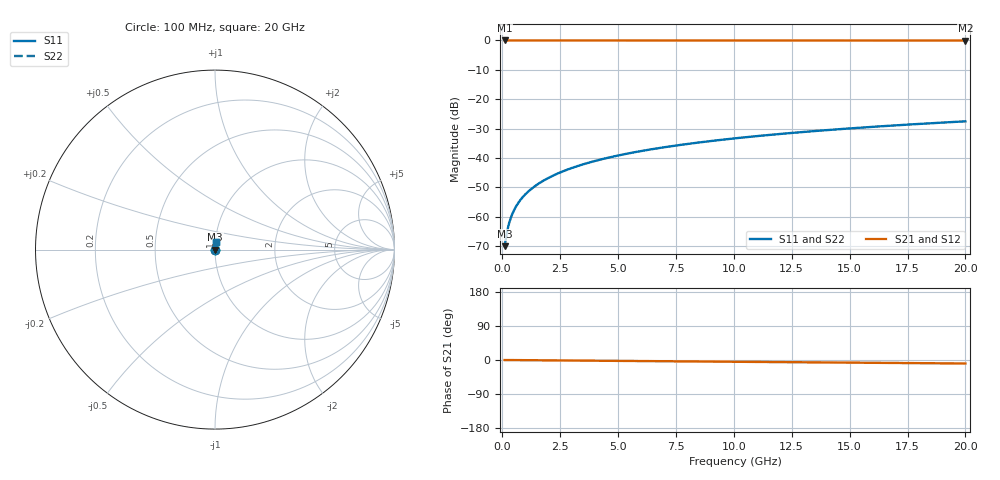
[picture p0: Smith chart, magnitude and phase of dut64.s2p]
! Touchstone file exported from HFSS 2026.1.0
!  File:  C:/ffzhzh/LocalFiles/Ansys_Project_Files/temp_train_TSV_64_1782959081_45308.aedt
!  Generated:  10:26:16 AM Jul  2, 2026
!  Design:  TSV
!  Project:  temp_train_TSV_64_1782959081_45308
! Variables:
!  h_bsmrdl = 2um
!  h_ox = 20um
!  h_rdl = 5um
!  h_sub = 88.43um
!  h_tmrdl = 5um
!  h_tsv = 88.43um
!  h_via = 3um
!  l_bsmrdl = 300um
!  l_sub = 416.64um
!  l_tmrdl = 200um
!  m_sub = 200um
!  pitch = 47.27um
!  r_tsv = 8.32um
!  s_tmrdl = 10um
!  w_bsmrdl = 18um
!  w_sub = 500um
!  w_tmrdl = 12um
!  x_tsv_center1 = 206um
!  x_tsv_center2 = 524um
!  x_tsv_center3 = 736um
!  x_tsv_center4 = 1054um
!  x_tsv_center5 = 1266um
!  x_tsv_center6 = 1584um
# GHz S MA R 50.000000
! Terminal data exported
! Port[1] = TSV1_1_T1
! Port[2] = TSV1_1_T2
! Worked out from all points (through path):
!   200 points, 100 MHz to 20 GHz, reference 50 ohm
!   highest |S21| = 0.00 dB at 100 MHz (marker M1); lowest = 0.0 dB at 20 GHz (marker M2)
!   group delay of S21, straight-line fit = 1.28 ps
!   lowest |S11| = -70.1 dB at 100 MHz (marker M3), VSWR 1.00, Z = 50 + j0.0256 ohm
!   |S11| at or under -10 dB: start of sweep to end of sweep
!   |S22| runs from -70.1 to -27.5 dB; largest |S21 - S12| = 5.1e-15
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0.1  0.0003142 54.7  0.9998 -0.0  0.9998 -0.0  0.0003142 54.7
! Gamma 0 0 0 0
! Port Impedance 50 0 50 0
0.2  0.0005459 69.3  0.9998 -0.1  0.9998 -0.1  0.0005459 69.3
0.3  0.0007894 74.5  0.9998 -0.1  0.9998 -0.1  0.0007894 74.5
0.4  0.001032 76.9  0.9998 -0.2  0.9998 -0.2  0.001032 76.9
0.5  0.001272 78.3  0.9997 -0.2  0.9997 -0.2  0.001272 78.3
0.6  0.001507 79.1  0.9997 -0.3  0.9997 -0.3  0.001507 79.1
0.7  0.001738 79.6  0.9997 -0.3  0.9997 -0.3  0.001738 79.6
0.8  0.001965 80.1  0.9997 -0.4  0.9997 -0.4  0.001965 80.1
1  0.002411 80.7  0.9996 -0.5  0.9996 -0.5  0.002411 80.7
1.4  0.003285 81.7  0.9996 -0.7  0.9996 -0.7  0.003285 81.7
1.7  0.003933 82.3  0.9995 -0.8  0.9995 -0.8  0.003933 82.3
2  0.004579 82.7  0.9995 -0.9  0.9995 -0.9  0.004579 82.7
2.7  0.006084 83.3  0.9994 -1.3  0.9994 -1.3  0.006084 83.3
3.5  0.007798 83.6  0.9993 -1.6  0.9993 -1.6  0.007798 83.6
4.2  0.009291 83.6  0.9992 -2.0  0.9992 -2.0  0.009291 83.6
5  0.01099 83.6  0.9992 -2.3  0.9992 -2.3  0.01099 83.6
6.8  0.01478 83.3  0.999 -3.2  0.999 -3.2  0.01478 83.3
8.3  0.01791 82.9  0.9988 -3.9  0.9988 -3.9  0.01791 82.9
10.1  0.02166 82.4  0.9987 -4.7  0.9987 -4.7  0.02166 82.4
13.4  0.02848 81.2  0.9983 -6.2  0.9983 -6.2  0.02848 81.2
16.7  0.03525 80.0  0.998 -7.7  0.998 -7.7  0.03525 80.0
20  0.04196 78.6  0.9975 -9.2  0.9975 -9.2  0.04196 78.6
